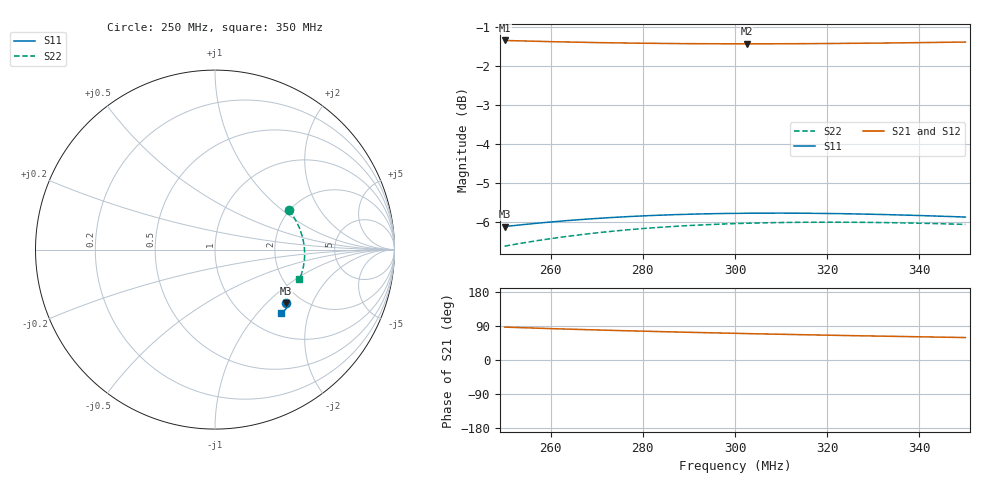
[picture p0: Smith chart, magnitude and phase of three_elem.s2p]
! Created Mon Nov 27 15:43:32 2023
# hz S ma R 50
! 2 Port Network Data from SP1.SP block
! freq  magS11  angS11  magS21  angS21  magS12  angS12  magS22  angS22
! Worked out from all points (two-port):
!   201 points, 250 MHz to 350 MHz, reference 50 ohm
!   highest |S21| = -1.35 dB at 250 MHz (marker M1); lowest = -1.4 dB at 302.5 MHz (marker M2)
!   |S21| within 3 dB of the highest: start of sweep to end of sweep
!   lowest |S11| = -6.1 dB at 250 MHz (marker M3), VSWR 2.96, Z = 83.4 - j65.6 ohm
!   |S11| at or under -10 dB: nowhere
!   |S22| runs from -6.6 to -6.0 dB; largest |S21 - S12| = 3.1e-09
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2.5e8  0.4952 -36.8  0.8558 86.8  0.8558 86.8  0.4674 28.1
2.52e8  0.4966 -36.8  0.8551 86.0  0.8551 86.0  0.4697 26.5
2.54e8  0.498 -36.8  0.8545 85.2  0.8545 85.2  0.4719 24.9
2.58e8  0.5006 -36.8  0.8533 83.6  0.8533 83.6  0.476 21.8
2.605e8  0.5022 -36.9  0.8527 82.6  0.8527 82.6  0.4784 20.0
2.625e8  0.5033 -36.9  0.8521 81.9  0.8521 81.9  0.4802 18.6
2.67e8  0.5057 -37.1  0.8511 80.3  0.8511 80.3  0.4839 15.6
2.71e8  0.5076 -37.3  0.8502 78.9  0.8502 78.9  0.4868 13.1
2.75e8  0.5092 -37.5  0.8495 77.6  0.8495 77.6  0.4894 10.7
2.79e8  0.5106 -37.7  0.8489 76.3  0.8489 76.3  0.4917 8.5
2.835e8  0.512 -38.0  0.8483 75.0  0.8483 75.0  0.494 6.1
2.875e8  0.5129 -38.2  0.848 73.8  0.848 73.8  0.4957 4.0
2.915e8  0.5137 -38.5  0.8477 72.6  0.8477 72.6  0.4972 2.1
2.96e8  0.5144 -38.9  0.8475 71.4  0.8475 71.4  0.4985 0.0
3e8  0.5148 -39.2  0.8474 70.3  0.8474 70.3  0.4995 -1.8
3.025e8  0.5149 -39.4  0.8474 69.7  0.8474 69.7  0.5 -2.8
3.095e8  0.5151 -40.0  0.8475 67.9  0.8475 67.9  0.501 -5.7
3.17e8  0.5148 -40.6  0.8479 66.2  0.8479 66.2  0.5015 -8.5
3.25e8  0.5141 -41.3  0.8485 64.4  0.8485 64.4  0.5015 -11.4
3.335e8  0.5128 -42.0  0.8494 62.5  0.8494 62.5  0.5009 -14.2
3.415e8  0.5112 -42.7  0.8505 60.9  0.8505 60.9  0.4998 -16.7
3.5e8  0.5092 -43.5  0.8518 59.2  0.8518 59.2  0.4983 -19.2
